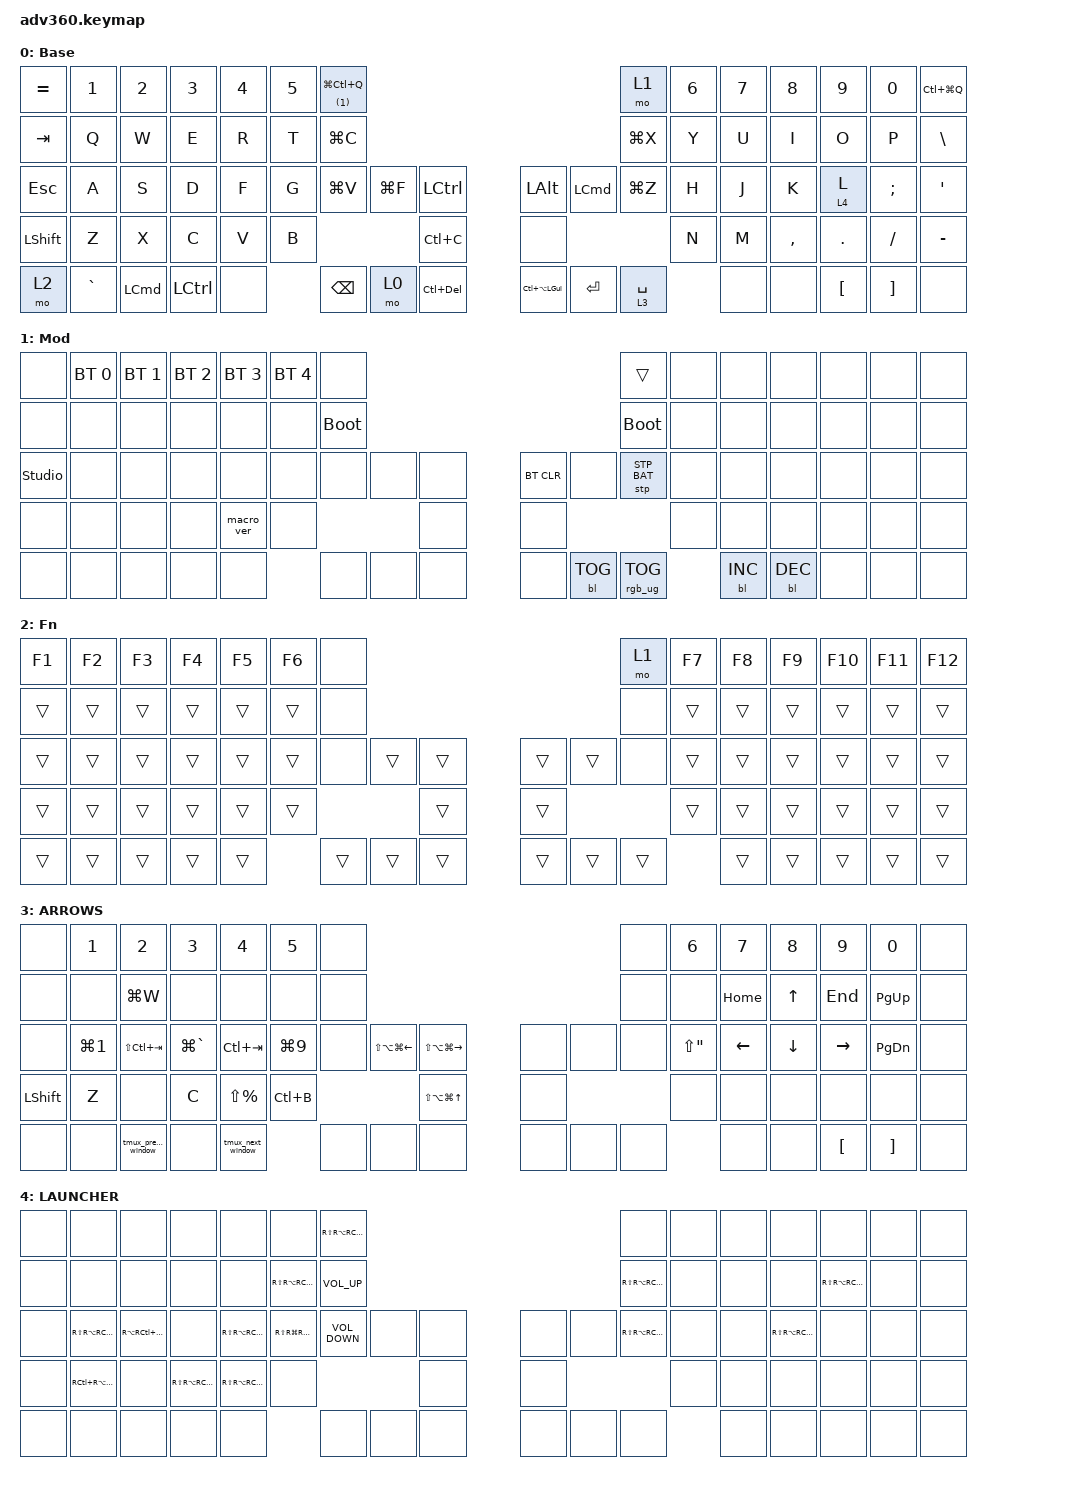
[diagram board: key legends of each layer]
#include <dt-bindings/zmk/stp.h>
#include <behaviors.dtsi>
#include <dt-bindings/zmk/backlight.h>
#include <dt-bindings/zmk/bt.h>
#include <dt-bindings/zmk/keys.h>
#include <dt-bindings/zmk/rgb.h>

&lt {
    tapping-term-ms = <200>;
    quick-tap-ms = <175>;
    require-prior-idle-ms = <150>;
    hold-trigger-on-release;
};

/ {
    behaviors {
        #include "macros.dtsi"
      #include "version.dtsi"

        hm: homerow_mods {
            compatible = "zmk,behavior-hold-tap";
            label = "HOMEROW_MODS";
            #binding-cells = <2>;
            tapping-term-ms = <200>;
            quick_tap_ms = <175>;
            flavor = "tap-preferred";
            bindings = <&kp>, <&kp>;

            hold-trigger-on-release;
            require-prior-idle-ms = <150>;
            quick-tap-ms = <175>;
        };
    };

    macros {
        tmux_previous_window: tmux_previous_window {
            compatible = "zmk,behavior-macro";
            #binding-cells = <0>;
            bindings =
                <&macro_tap>,
                <&kp LC(B)>,
                <&macro_wait_time 30>,
                <&macro_tap>,
                <&kp P>;

            label = "TMUX_PREVIOUS_WINDOW";
        };

        tmux_next_window: tmux_next_window {
            compatible = "zmk,behavior-macro";
            #binding-cells = <0>;
            bindings =
                <&macro_tap>,
                <&kp LC(B)>,
                <&macro_wait_time 30>,
                <&macro_tap>,
                <&kp N>;

            label = "TMUX_NEXT_WINDOW";
        };
    };

    keymap {
        compatible = "zmk,keymap";

        default_layer_macOS {
            display-name = "Base";
            bindings = <
&kp EQUAL  &kp N1     &kp N2            &kp N3     &kp N4  &kp N5  &lt (1) LG(LC(Q))                                                                           &mo 1        &kp N6  &kp N7  &kp N8     &kp N9    &kp N0    &kp LC(LG(Q))
&kp TAB    &kp Q      &kp W             &kp E      &kp R   &kp T   &kp LG(C)                                                                                   &kp LG(X)    &kp Y   &kp U   &kp I      &kp O     &kp P     &kp BSLH
&kp ESC    &kp A      &kp S             &kp D      &kp F   &kp G   &kp LG(V)          &kp LG(F)  &kp LEFT_CONTROL      &kp LEFT_ALT          &kp LEFT_COMMAND  &kp LG(Z)    &kp H   &kp J   &kp K      &lt 4 L   &kp SEMI  &kp SQT
&kp LSHFT  &kp Z      &kp X             &kp C      &kp V   &kp B                                 &kp LC(C)             &none                                                &kp N   &kp M   &kp COMMA  &kp DOT   &kp FSLH  &kp MINUS
&mo 2      &kp GRAVE  &kp LEFT_COMMAND  &kp LCTRL  &none           &kp BSPC           &mo 0      &kp LC(DEL)           &kp LC(LA(LEFT_GUI))  &kp ENTER         &lt 3 SPACE          &none   &none      &kp LBKT  &kp RBKT  &none
            >;
        };

        mod {
            display-name = "Mod";
            bindings = <
&none           &bt BT_SEL 0  &bt BT_SEL 1  &bt BT_SEL 2  &bt BT_SEL 3  &bt BT_SEL 4  &none                                                  &trans           &none  &none       &none       &none  &none  &none
&none           &none         &none         &none         &none         &none         &bootloader                                            &bootloader      &none  &none       &none       &none  &none  &none
&studio_unlock  &none         &none         &none         &none         &none         &none        &none  &none      &bt BT_CLR  &none       &stp STP_BAT     &none  &none       &none       &none  &none  &none
&none           &none         &none         &none         &macro_ver    &none                             &none      &none                                    &none  &none       &none       &none  &none  &none
&none           &none         &none         &none         &none                       &none        &none  &none      &none       &bl BL_TOG  &rgb_ug RGB_TOG         &bl BL_INC  &bl BL_DEC  &none  &none  &none
            >;
        };

        fn {
            display-name = "Fn";
            bindings = <
&kp F1  &kp F2  &kp F3  &kp F4  &kp F5  &kp F6  &none                                       &mo 1   &kp F7  &kp F8  &kp F9  &kp F10  &kp F11  &kp F12
&trans  &trans  &trans  &trans  &trans  &trans  &none                                       &none   &trans  &trans  &trans  &trans   &trans   &trans
&trans  &trans  &trans  &trans  &trans  &trans  &none   &trans  &trans      &trans  &trans  &none   &trans  &trans  &trans  &trans   &trans   &trans
&trans  &trans  &trans  &trans  &trans  &trans                  &trans      &trans                  &trans  &trans  &trans  &trans   &trans   &trans
&trans  &trans  &trans  &trans  &trans          &trans  &trans  &trans      &trans  &trans  &trans          &trans  &trans  &trans   &trans   &trans
            >;
        };

        ARROWS {
            bindings = <
&none      &kp N1            &kp N2                 &kp N3         &kp N4             &kp N5      &none                                                                    &none  &kp N6       &kp N7          &kp N8          &kp N9           &kp N0         &none
&none      &none             &kp LG(W)              &none          &none              &none       &none                                                                    &none  &none        &kp HOME        &kp UP_ARROW    &kp END          &kp PAGE_UP    &none
&none      &kp LG(NUMBER_1)  &kp LS(LC(TAB))        &kp LG(GRAVE)  &kp LC(TAB)        &kp LG(N9)  &none  &kp LS(LA(LG(LEFT)))  &kp LS(LA(LG(RIGHT)))         &none  &none  &none  &kp LS(DQT)  &kp LEFT_ARROW  &kp DOWN_ARROW  &kp RIGHT_ARROW  &kp PAGE_DOWN  &none
&kp LSHFT  &kp Z             &none                  &kp C          &kp LS(PRCNT)      &kp LC(B)                                &kp LS(LA(LG(UP_ARROW)))      &none                &none        &none           &none           &none            &none          &none
&none      &none             &tmux_previous_window  &none          &tmux_next_window              &none  &none                 &none                         &none  &none  &none               &none           &none           &kp LBKT         &kp RBKT       &none
            >;
        };

        LAUNCHER {
            bindings = <
&none  &none                  &none                  &none                  &none                  &none                  &kp RS(RA(RC(RG(H))))                                  &none                  &none  &none  &none                  &none                  &none  &none
&none  &none                  &none                  &none                  &none                  &kp RS(RA(RC(RG(T))))  &kp C_VOLUME_UP                                        &kp RS(RA(RC(RG(U))))  &none  &none  &none                  &kp RS(RA(RC(RG(O))))  &none  &none
&none  &kp RS(RA(RC(RG(A))))  &kp RA(RC(RS(RG(S))))  &none                  &kp RS(RA(RC(RG(F))))  &kp RS(RG(RA(RC(G))))  &kp C_VOLUME_DOWN      &none  &none      &none  &none  &kp RS(RA(RC(RG(M))))  &none  &none  &kp RS(RA(RC(RG(K))))  &none                  &none  &none
&none  &kp RC(RA(RS(RG(Z))))  &none                  &kp RS(RA(RC(RG(C))))  &kp RS(RA(RC(RG(V))))  &none                                                &none      &none                                &none  &none  &none                  &none                  &none  &none
&none  &none                  &none                  &none                  &none                                         &none                  &none  &none      &none  &none  &none                         &none  &none                  &none                  &none  &none
            >;
        };
    };
};
